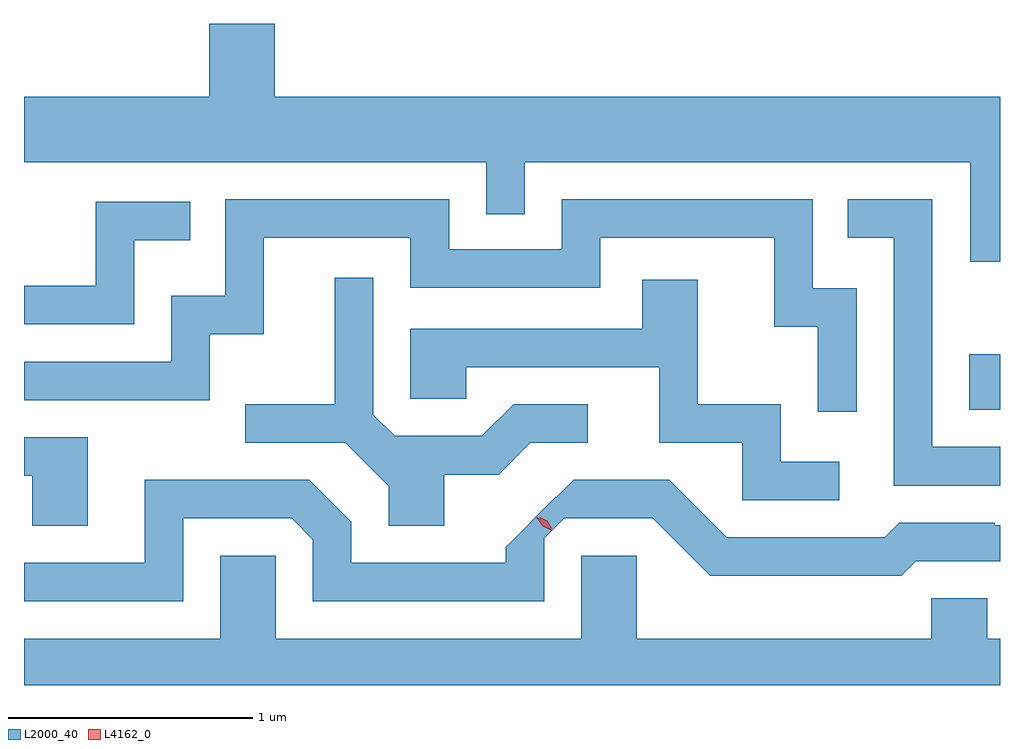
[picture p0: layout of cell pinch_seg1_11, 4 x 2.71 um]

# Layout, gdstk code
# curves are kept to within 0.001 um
import gdstk
lib = gdstk.Library(unit=1e-6, precision=1e-09)
def R(c, l, rs):  # rectangles x0, y0, x1, y1
    for r in rs: c.add(gdstk.rectangle(r[:2], r[2:], *l))
def P(c, l, *ps):  # polygons
    for p in ps: c.add(gdstk.Polygon(p, *l))
L2000_40 = (2000, 40)
L4162_0 = (4162, 0)

pinch_seg1_11 = lib.new_cell('pinch_seg1_11')
R(pinch_seg1_11, L2000_40, [(1896.511,840.841,1896.637,841.069)])
P(pinch_seg1_11, L2000_40, [(1896.637,842.124),(1893.664,842.124),(1893.664,842.424),(1893.396,842.424),(1893.396,842.124),(1892.637,842.124),(1892.637,841.856),(1894.531,841.856),(1894.531,841.643),(1894.689,841.643),(1894.689,841.856),(1896.516,841.856),(1896.516,841.448),(1896.637,841.448)],
  [(1896.637,840.689),(1896.359,840.689),(1896.359,841.704),(1896.013,841.704),(1896.013,841.546),(1896.201,841.546),(1896.201,840.531),(1896.637,840.531)],
  [(1896.049,841.339),(1895.869,841.339),(1895.869,841.704),(1894.841,841.704),(1894.841,841.499),(1894.379,841.499),(1894.379,841.704),(1893.461,841.704),(1893.461,841.309),(1893.241,841.309),(1893.241,841.039),(1892.637,841.039),(1892.637,840.881),(1893.399,840.881),(1893.399,841.151),(1893.619,841.151),(1893.619,841.546),(1894.221,841.546),(1894.221,841.341),(1894.999,841.341),(1894.999,841.546),(1895.711,841.546),(1895.711,841.181),(1895.891,841.181),(1895.891,840.833),(1896.049,840.833)],
  [(1893.089,841.536),(1893.318,841.536),(1893.318,841.694),(1892.931,841.694),(1892.931,841.349),(1892.637,841.349),(1892.637,841.191),(1893.089,841.191)],
  [(1894.359,840.576),(1894.582,840.576),(1894.712,840.706),(1894.948,840.706),(1894.948,840.864),(1894.644,840.864),(1894.514,840.734),(1894.157,840.734),(1894.069,840.822),(1894.069,841.383),(1893.911,841.383),(1893.911,840.864),(1893.543,840.864),(1893.543,840.706),(1893.954,840.706),(1894.131,840.529),(1894.131,840.366),(1894.359,840.366)],
  [(1895.978,840.629),(1895.739,840.629),(1895.739,840.864),(1895.399,840.864),(1895.399,841.374),(1895.171,841.374),(1895.171,841.174),(1894.221,841.174),(1894.221,840.886),(1894.449,840.886),(1894.449,841.016),(1895.241,841.016),(1895.241,840.706),(1895.581,840.706),(1895.581,840.471),(1895.978,840.471)],
  [(1892.899,840.729),(1892.637,840.729),(1892.637,840.571),(1892.671,840.571),(1892.671,840.366),(1892.899,840.366)],
  [(1893.289,840.396),(1893.734,840.396),(1893.821,840.309),(1893.821,840.056),(1894.769,840.056),(1894.769,840.314),(1894.852,840.397),(1895.214,840.396),(1895.449,840.161),(1896.232,840.161),(1896.292,840.221),(1896.637,840.221),(1896.637,840.369),(1896.615,840.369),(1896.615,840.379),(1896.224,840.379),(1896.164,840.319),(1895.517,840.319),(1895.282,840.554),(1894.89,840.554),(1894.818,840.482),(1894.816,840.484),(1894.611,840.279),(1894.611,840.214),(1893.979,840.214),(1893.979,840.382),(1893.807,840.554),(1893.131,840.554),(1893.131,840.214),(1892.637,840.214),(1892.637,840.056),(1893.289,840.056)],
  [(1896.637,839.904),(1896.584,839.904),(1896.584,840.069),(1896.356,840.069),(1896.356,839.904),(1895.149,839.904),(1895.149,840.244),(1894.921,840.244),(1894.921,839.904),(1893.669,839.904),(1893.669,840.244),(1893.441,840.244),(1893.441,839.904),(1892.637,839.904),(1892.637,839.712),(1896.637,839.712)])
P(pinch_seg1_11, L4162_0, [(1894.799,840.354),(1894.767,840.372),(1894.748,840.403),(1894.748,840.404),(1894.749,840.404),(1894.781,840.386),(1894.8,840.355),(1894.8,840.354)],
  [(1894.799,840.345),(1894.762,840.365),(1894.737,840.4),(1894.737,840.401),(1894.738,840.401),(1894.775,840.38),(1894.8,840.345),(1894.8,840.345)])

lib.write_gds('pinch_seg1_11.gds')
